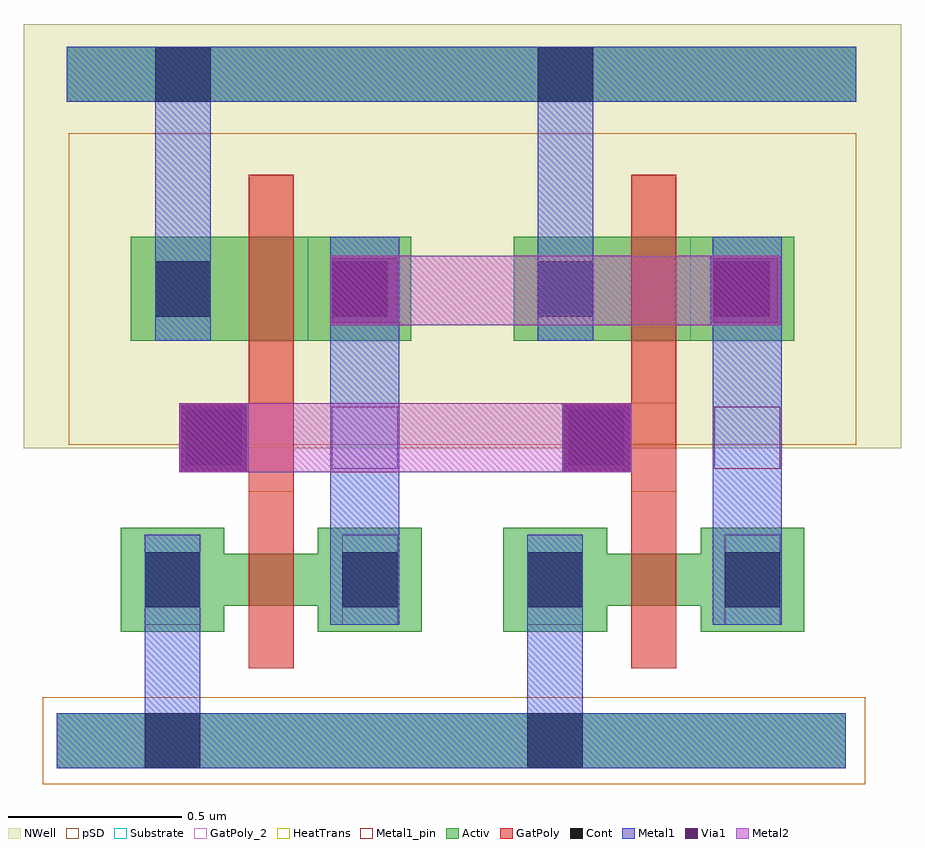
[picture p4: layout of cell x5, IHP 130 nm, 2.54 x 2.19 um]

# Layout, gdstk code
import gdstk
lib = gdstk.Library(unit=1e-6, precision=5e-09)
def R(c, l, rs):  # rectangles x0, y0, x1, y1
    for r in rs: c.add(gdstk.rectangle(r[:2], r[2:], *l))
Activ = (1, 0)
GatPoly = (5, 0)
GatPoly_2 = (5, 2)
Cont = (6, 0)
Metal1 = (8, 0)
Metal1_pin = (8, 2)
Metal2 = (10, 0)
pSD = (14, 0)
Via1 = (19, 0)
NWell = (31, 0)
Substrate = (40, 0)
HeatTrans = (51, 0)

nmos_7 = lib.new_cell('nmos$7')
R(nmos_7, Activ, [(0,-0.05,0.3,0.25), (0.57,-0.05,0.87,0.25), (0,0.025,0.87,0.175)])
R(nmos_7, GatPoly, [(0.37,-0.155,0.5,0.355)])
R(nmos_7, GatPoly_2, [(0.37,-0.155,0.5,0.355)])
R(nmos_7, Cont, [(0.07,0.02,0.23,0.18), (0.64,0.02,0.8,0.18)])
R(nmos_7, Metal1, [(0.07,-0.03,0.23,0.23), (0.64,-0.03,0.8,0.23)])
R(nmos_7, Metal1_pin, [(0.07,-0.03,0.23,0.23), (0.64,-0.03,0.8,0.23)])
R(nmos_7, HeatTrans, [(0.37,-0.155,0.5,0.355)])
nmos_7.add(gdstk.Label('nmos', (0.435,0.1), layer=63, texttype=0))
nmos_7.add(gdstk.Label('nmos', (0.435,0.1), layer=51, texttype=0))

pmos_1_2 = lib.new_cell('pmos$1$2')
R(pmos_1_2, Activ, [(0,0,0.3,0.3), (0,0,0.81,0.3), (0.51,0,0.81,0.3)])
R(pmos_1_2, GatPoly, [(0.34,-0.18,0.47,0.48), (0.34,-0.18,0.47,0.48)])
R(pmos_1_2, Cont, [(0.07,0.07,0.23,0.23), (0.58,0.07,0.74,0.23)])
R(pmos_1_2, Metal1, [(0.07,0,0.23,0.3), (0.07,0,0.23,0.3), (0.58,0,0.74,0.3), (0.58,0,0.74,0.3)])
R(pmos_1_2, pSD, [(-0.18,-0.3,0.99,0.6)])
R(pmos_1_2, NWell, [(-0.31,-0.31,1.12,0.61)])
R(pmos_1_2, Substrate, [(0.51,0,0.81,0.3)])
R(pmos_1_2, HeatTrans, [(0.34,-0.18,0.47,0.48)])
pmos_1_2.add(gdstk.Label('pmos', (0.405,0.15), layer=63, texttype=0))
pmos_1_2.add(gdstk.Label('pmos', (0.405,0.15), layer=51, texttype=0))

inv_d1_2 = lib.new_cell('INV_D1$2')
R(inv_d1_2, Activ, [(-0.63,-1.05,0.545,-0.89), (-0.6,0.875,0.575,1.035)])
R(inv_d1_2, GatPoly, [(-0.075,-0.25,0.055,0.005), (-0.275,-0.195,-0.075,0.005)])
R(inv_d1_2, Cont, [(-0.375,-1.05,-0.215,-0.89), (-0.255,-0.175,-0.095,-0.015), (-0.345,0.875,-0.185,1.035)])
R(inv_d1_2, Metal1, [(-0.375,-1.05,-0.215,-0.635), (0.16,-0.635,0.36,0.485), (-0.255,-0.175,-0.095,-0.015), (-0.345,0.485,-0.185,1.035), (-0.6,0.875,0.575,1.035)])
R(inv_d1_2, Metal1_pin, [(-0.375,-1.05,-0.215,-0.89), (0.165,-0.185,0.355,-0.005), (-0.255,-0.175,-0.095,-0.015), (-0.345,0.875,-0.185,1.035)])
R(inv_d1_2, pSD, [(-0.67,-1.095,0.6,-0.845)])
R(inv_d1_2, NWell, [(-0.725,0.795,0.705,1.1)])
inv_d1_2.add(gdstk.Reference(nmos_7, (-0.445,-0.605)))
inv_d1_2.add(gdstk.Reference(pmos_1_2, (-0.415,0.185)))
inv_d1_2.add(gdstk.Label('VIN', (-0.145,-0.035), layer=8, texttype=2))
inv_d1_2.add(gdstk.Label('VSS', (-0.26,-0.915), layer=8, texttype=2))
inv_d1_2.add(gdstk.Label('VOUT', (0.305,-0.06), layer=8, texttype=2))

gro_routings_via1 = lib.new_cell('GRO_routings_Via1')
R(gro_routings_via1, Metal1, [(1.21,-3.09,1.41,-2.89)])
R(gro_routings_via1, Metal2, [(1.21,-3.09,1.41,-2.89)])
R(gro_routings_via1, Via1, [(1.215,-3.085,1.405,-2.895)])

c_x5 = lib.new_cell('x5')
R(c_x5, Activ, [(0.335,1.125,1.51,1.285)])
R(c_x5, Metal1, [(-0.8,-0.8,1.48,-0.64), (-0.77,1.125,1.51,1.285)])
R(c_x5, Metal2, [(-0.445,0.055,0.855,0.255), (-0.01,0.48,1.29,0.68)])
r = gdstk.Reference(inv_d1_2, (-0.17,0.25)); r.repetition = gdstk.Repetition(2, 1, v1=(1.105,0), v2=(0,0)); c_x5.add(r)
r = gdstk.Reference(gro_routings_via1, (-1.22,3.57)); r.repetition = gdstk.Repetition(2, 1, v1=(1.1,0), v2=(0,0)); c_x5.add(r)
r = gdstk.Reference(gro_routings_via1, (-1.22,3.57)); r.repetition = gdstk.Repetition(2, 1, v1=(1.1,0), v2=(0,0)); c_x5.add(r)
r = gdstk.Reference(gro_routings_via1, (-1.22,3.57)); r.repetition = gdstk.Repetition(2, 1, v1=(1.1,0), v2=(0,0)); c_x5.add(r)
r = gdstk.Reference(gro_routings_via1, (-1.22,3.57)); r.repetition = gdstk.Repetition(2, 1, v1=(1.1,0), v2=(0,0)); c_x5.add(r)
r = gdstk.Reference(gro_routings_via1, (-1.22,3.57)); r.repetition = gdstk.Repetition(2, 1, v1=(1.1,0), v2=(0,0)); c_x5.add(r)
r = gdstk.Reference(gro_routings_via1, (-1.22,3.57)); r.repetition = gdstk.Repetition(2, 1, v1=(1.1,0), v2=(0,0)); c_x5.add(r)
r = gdstk.Reference(gro_routings_via1, (-1.22,3.57)); r.repetition = gdstk.Repetition(2, 1, v1=(1.1,0), v2=(0,0)); c_x5.add(r)
r = gdstk.Reference(gro_routings_via1, (-1.22,3.57)); r.repetition = gdstk.Repetition(2, 1, v1=(1.1,0), v2=(0,0)); c_x5.add(r)
r = gdstk.Reference(gro_routings_via1, (-1.22,3.57)); r.repetition = gdstk.Repetition(2, 1, v1=(1.1,0), v2=(0,0)); c_x5.add(r)
r = gdstk.Reference(gro_routings_via1, (-1.22,3.57)); r.repetition = gdstk.Repetition(2, 1, v1=(1.1,0), v2=(0,0)); c_x5.add(r)
r = gdstk.Reference(gro_routings_via1, (-1.22,3.57)); r.repetition = gdstk.Repetition(2, 1, v1=(1.1,0), v2=(0,0)); c_x5.add(r)
r = gdstk.Reference(gro_routings_via1, (-1.655,3.145)); r.repetition = gdstk.Repetition(2, 1, v1=(1.105,0), v2=(0,0)); c_x5.add(r)

lib.write_gds('x5.gds')
